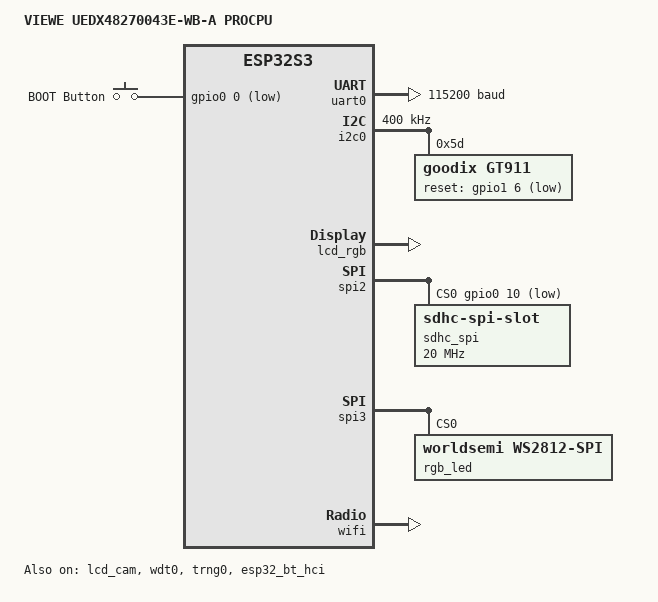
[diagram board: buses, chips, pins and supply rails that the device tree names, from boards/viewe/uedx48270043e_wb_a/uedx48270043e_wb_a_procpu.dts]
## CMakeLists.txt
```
# Copyright (c) 2026 Gustavo
# SPDX-License-Identifier: Apache-2.0

cmake_minimum_required(VERSION 3.20.0)

list(APPEND BOARD_ROOT ${CMAKE_CURRENT_SOURCE_DIR})

find_package(Zephyr REQUIRED HINTS $ENV{ZEPHYR_BASE})
project(viewesmart_esp32s3_dash)

target_sources(app PRIVATE
	src/main.c
	src/senna_telemetry.c
)
```

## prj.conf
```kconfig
# SPDX-License-Identifier: Apache-2.0

# SoC Memória Externa (8 MB Octal PSRAM + Cache 64 KB)
CONFIG_ESP_SPIRAM=y
CONFIG_SPIRAM_MODE_OCT=y
CONFIG_SPIRAM_SPEED_80M=y
CONFIG_ESP32S3_DATA_CACHE_64KB=y
CONFIG_ESP32S3_DATA_CACHE_LINE_64B=y
CONFIG_SHARED_MULTI_HEAP=y
CONFIG_ESP_SPIRAM_HEAP_SIZE=4194304

# Periféricos Base
CONFIG_GPIO=y
CONFIG_I2C=y
CONFIG_CONSOLE=y
CONFIG_SERIAL=y
CONFIG_UART_CONSOLE=y
CONFIG_LOG=y
CONFIG_HEAP_MEM_POOL_SIZE=16384

# Touchscreen Capacitivo Goodix GT911 (Polling via I2C0, pois R33 INT é NC na PCB)
CONFIG_INPUT=y
CONFIG_INPUT_GT911=y
CONFIG_INPUT_GT911_PERIOD_MS=15

# Subsistema de Display & Driver Paralelo RGB (LCD_CAM + GDMA)
CONFIG_DISPLAY=y
CONFIG_DISPLAY_ESP32_LCD_CAM_RGB=y
CONFIG_DISPLAY_ESP32_LCD_CAM_RGB_FB_NUM=1
CONFIG_DISPLAY_ESP32_LCD_CAM_RGB_BOUNCE_BUFFER_LINES=17
CONFIG_DISPLAY_ESP32_LCD_CAM_RGB_RESTART_IN_VSYNC=n

# LVGL (Interface Gráfica)
CONFIG_LVGL=y
CONFIG_LV_Z_MEM_POOL_SIZE=65536
CONFIG_LV_Z_VDB_SIZE=20
CONFIG_LV_Z_DOUBLE_VDB=y
CONFIG_LV_Z_BITS_PER_PIXEL=16
CONFIG_LV_COLOR_DEPTH_16=y
CONFIG_LV_USE_LABEL=y
CONFIG_LV_USE_BUTTON=y
CONFIG_LV_USE_ARC=y
CONFIG_LV_USE_BAR=y
CONFIG_LV_USE_SLIDER=y
CONFIG_LV_USE_LINE=y
CONFIG_LV_FONT_MONTSERRAT_12=y
CONFIG_LV_FONT_MONTSERRAT_14=y
CONFIG_LV_FONT_MONTSERRAT_16=y
CONFIG_LV_FONT_MONTSERRAT_20=y
CONFIG_LV_FONT_MONTSERRAT_24=y
CONFIG_LV_FONT_MONTSERRAT_32=y

# LED Strip WS2812D (21 LEDs: 15 Superiores + 3 Direita + 3 Esquerda em GPIO17)
CONFIG_SPI=y
CONFIG_LED_STRIP=y
CONFIG_WS2812_STRIP_SPI=y

# Stacks do Sistema
CONFIG_MAIN_STACK_SIZE=8192
CONFIG_SYSTEM_WORKQUEUE_STACK_SIZE=4096
```

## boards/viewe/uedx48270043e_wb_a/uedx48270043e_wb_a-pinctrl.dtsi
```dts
/*
 * Copyright (c) 2024 Espressif Systems (Shanghai) Co., Ltd.
 * Copyright (c) 2026 VIEWE Display Co., Ltd.
 *
 * SPDX-License-Identifier: Apache-2.0
 */

#include <zephyr/dt-bindings/pinctrl/esp-pinctrl-common.h>
#include <zephyr/dt-bindings/pinctrl/esp32s3-pinctrl.h>
#include <zephyr/dt-bindings/pinctrl/esp32s3-gpio-sigmap.h>

&pinctrl {
	uart0_default: uart0_default {
		group1 {
			pinmux = <UART0_TX_GPIO43>;
			output-high;
		};

		group2 {
			pinmux = <UART0_RX_GPIO44>;
			bias-pull-up;
		};
	};

	i2c0_default: i2c0_default {
		group1 {
			pinmux = <I2C0_SDA_GPIO19>,
				 <I2C0_SCL_GPIO20>;
			bias-pull-up;
			drive-open-drain;
			output-high;
		};
	};

	spim2_default: spim2_default {
		group1 {
			pinmux = <SPIM2_MISO_GPIO13>;
			bias-pull-up;
		};

		group2 {
			pinmux = <SPIM2_MOSI_GPIO11>,
				 <SPIM2_SCLK_GPIO12>;
		};
	};

	spim3_ws2812_led: spim3_ws2812_led {
		group1 {
			pinmux = <SPIM3_MOSI_GPIO17>;
			drive-push-pull;
			bias-pull-down;
			output-low;
		};
	};

	lcd_cam_default: lcd_cam_default {
		group1 {
			pinmux = <LCD_CAM_LCD_CLK_GPIO42>,
				 <LCD_CAM_H_ENABLE_LCD_GPIO40>,
				 <LCD_CAM_V_SYNC_LCD_GPIO41>,
				 <LCD_CAM_H_SYNC_LCD_GPIO39>,
				 <LCD_CAM_DATA_OUT0_GPIO8>,
				 <LCD_CAM_DATA_OUT1_GPIO3>,
				 <LCD_CAM_DATA_OUT2_GPIO46>,
				 <LCD_CAM_DATA_OUT3_GPIO9>,
				 <LCD_CAM_DATA_OUT4_GPIO1>,
				 <LCD_CAM_DATA_OUT5_GPIO5>,
				 <LCD_CAM_DATA_OUT6_GPIO6>,
				 <LCD_CAM_DATA_OUT7_GPIO7>,
				 <LCD_CAM_DATA_OUT8_GPIO15>,
				 <LCD_CAM_DATA_OUT9_GPIO16>,
				 <LCD_CAM_DATA_OUT10_GPIO4>,
				 <LCD_CAM_DATA_OUT11_GPIO45>,
				 <LCD_CAM_DATA_OUT12_GPIO48>,
				 <LCD_CAM_DATA_OUT13_GPIO47>,
				 <LCD_CAM_DATA_OUT14_GPIO21>,
				 <LCD_CAM_DATA_OUT15_GPIO14>;
		};
	};
};
```

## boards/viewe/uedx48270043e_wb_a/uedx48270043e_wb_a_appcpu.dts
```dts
/*
 * Copyright (c) 2024 Espressif Systems (Shanghai) Co., Ltd.
 * Copyright (c) 2026 VIEWE Display Co., Ltd.
 *
 * SPDX-License-Identifier: Apache-2.0
 */
/dts-v1/;

#include <espressif/esp32s3/esp32s3_appcpu.dtsi>
#include <espressif/partitions_0x0_amp_16M.dtsi>

/ {
	model = "VIEWE UEDX48270043E-WB-A APPCPU";
	compatible = "viewe,uedx48270043e_wb_a", "espressif,esp32s3";

	chosen {
		zephyr,sram = &sram1;
		zephyr,ipc_shm = &shm0;
		zephyr,ipc = &ipm0;
		zephyr,flash = &flash0;
		zephyr,code-partition = &slot0_appcpu_partition;
	};
};

&flash0 {
	reg = <0x0 DT_SIZE_M(16)>;
	ranges = <0x0 0x0 DT_SIZE_M(16)>;
};

&trng0 {
	status = "okay";
};

&ipm0 {
	status = "okay";
};
```

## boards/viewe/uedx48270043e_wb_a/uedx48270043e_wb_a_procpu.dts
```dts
/*
 * Copyright (c) 2024-2026 Espressif Systems (Shanghai) Co., Ltd.
 * Copyright (c) 2026 VIEWE Display Co., Ltd.
 *
 * SPDX-License-Identifier: Apache-2.0
 */

/dts-v1/;

#include <espressif/esp32s3/esp32s3.dtsi>
#include <espressif/partitions_0x0_amp_16M.dtsi>
#include <zephyr/dt-bindings/display/panel.h>
#include <zephyr/dt-bindings/input/input-event-codes.h>
#include <zephyr/dt-bindings/led/led.h>
#include <zephyr/dt-bindings/led/worldsemi_ws2812c.h>
#include "uedx48270043e_wb_a-pinctrl.dtsi"

/ {
	model = "VIEWE UEDX48270043E-WB-A PROCPU";
	compatible = "viewe,uedx48270043e_wb_a", "espressif,esp32s3";

	chosen {
		zephyr,sram = &sram1;
		zephyr,console = &uart0;
		zephyr,shell-uart = &uart0;
		zephyr,flash = &flash0;
		zephyr,code-partition = &slot0_partition;
		zephyr,bt-hci = &esp32_bt_hci;
		zephyr,display = &lcd_rgb;
		zephyr,touch = &gt911;
	};

	aliases {
		i2c-0 = &i2c0;
		uart-0 = &uart0;
		sw0 = &button0;
		watchdog0 = &wdt0;
		sdhc0 = &sdhc0;
		led-strip = &rgb_led;
	};

	buttons {
		compatible = "gpio-keys";
		debounce-interval-ms = <10>;

		button0: button_0 {
			gpios = <&gpio0 0 (GPIO_PULL_UP | GPIO_ACTIVE_LOW)>;
			label = "BOOT Button";
			zephyr,code = <INPUT_KEY_0>;
		};
	};
};

&flash0 {
	reg = <0x0 DT_SIZE_M(16)>;
	ranges = <0x0 0x0 DT_SIZE_M(16)>;
};

&psram0 {
	size = <DT_SIZE_M(8)>;
};

&dma {
	status = "okay";
};

&gpio0 {
	status = "okay";
};

&gpio1 {
	status = "okay";
};

&uart0 {
	status = "okay";
	current-speed = <115200>;
	pinctrl-0 = <&uart0_default>;
	pinctrl-names = "default";
};

&i2c0 {
	status = "okay";
	clock-frequency = <I2C_BITRATE_FAST>;
	pinctrl-0 = <&i2c0_default>;
	pinctrl-names = "default";

	gt911: gt911@5d {
		compatible = "goodix,gt911";
		reg = <0x5d>;
		alt-addr = <0x14>;
		reset-gpios = <&gpio1 6 GPIO_ACTIVE_LOW>; /* GPIO38 */
		screen-width = <480>;
		screen-height = <272>;
	};
};

&lcd_cam {
	status = "okay";
	pinctrl-0 = <&lcd_cam_default>;
	pinctrl-names = "default";

	lcd_rgb: lcd-rgb {
		compatible = "espressif,esp32-lcd-cam-rgb";
		status = "okay";
		width = <480>;
		height = <272>;
		pixel-format = <PANEL_PIXEL_FORMAT_RGB_565>;
		data-bus-width = <16>;
		backlight-gpios = <&gpio0 2 GPIO_ACTIVE_HIGH>; /* GPIO2 LP3321B6F EN */

		display-timings {
			compatible = "zephyr,panel-timing";
			clock-frequency = <12000000>;
			hsync-len = <1>;
			hback-porch = <42>;
			hfront-porch = <20>;
			vsync-len = <10>;
			vback-porch = <12>;
			vfront-porch = <4>;
			hsync-active = <0>;
			vsync-active = <0>;
			de-active = <1>;
			pixelclk-active = <1>;
		};
	};
};

&spi2 {
	#address-cells = <1>;
	#size-cells = <0>;
	status = "okay";
	pinctrl-0 = <&spim2_default>;
	pinctrl-names = "default";
	cs-gpios = <&gpio0 10 GPIO_ACTIVE_LOW>; /* GPIO10 MicroSD CS */

	sdhc_spi: sdhc@0 {
		compatible = "zephyr,sdhc-spi-slot";
		reg = <0>;
		status = "okay";
		spi-max-frequency = <DT_FREQ_M(20)>;

		mmc {
			compatible = "zephyr,sdmmc-disk";
			disk-name = "SD";
			status = "okay";
		};
	};
};

/*
 * Barra de LEDs endereçaveis WS2812D (Total: 21 LEDs) via SPI3 MOSI em GPIO17:
 * - LEDs 0..14 (15 LEDs): Barra Superior (Shift lights F1 da esquerda para a direita)
 * - LEDs 15..17 (3 LEDs): Lateral Direita (de baixo para cima)
 * - LEDs 18..20 (3 LEDs): Lateral Esquerda (de baixo para cima)
 */
&spi3 {
	#address-cells = <1>;
	#size-cells = <0>;
	status = "okay";
	dma-enabled;
	dmas = <&dma 0>, <&dma 1>;
	dma-names = "rx", "tx";
	line-idle-low;
	pinctrl-0 = <&spim3_ws2812_led>;
	pinctrl-names = "default";

	rgb_led: ws2812@0 {
		compatible = "worldsemi,ws2812-spi";
		reg = <0>;
		spi-max-frequency = <WS2812C_SPI_FREQ>;
		chain-length = <21>;
		color-mapping = <LED_COLOR_ID_GREEN>,
				<LED_COLOR_ID_RED>,
				<LED_COLOR_ID_BLUE>;
		spi-one-frame = <WS2812C_ONE_FRAME>;
		spi-zero-frame = <WS2812C_ZERO_FRAME>;
		reset-delay = <300>;
	};
};

&timer0 {
	status = "disabled";
};

&timer1 {
	status = "disabled";
};

&timer2 {
	status = "disabled";
};

&timer3 {
	status = "disabled";
};

&wdt0 {
	status = "okay";
};

&trng0 {
	status = "okay";
};

&esp32_bt_hci {
	status = "okay";
};

&wifi {
	status = "okay";
};
```

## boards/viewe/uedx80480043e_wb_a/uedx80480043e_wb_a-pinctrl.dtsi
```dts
/*
 * Copyright (c) 2026 VIEWE Display Co., Ltd.
 *
 * SPDX-License-Identifier: Apache-2.0
 */

#include <zephyr/dt-bindings/pinctrl/esp-pinctrl-common.h>
#include <zephyr/dt-bindings/pinctrl/esp32s3-pinctrl.h>
#include <zephyr/dt-bindings/pinctrl/esp32s3-gpio-sigmap.h>

&pinctrl {
	uart0_default: uart0_default {
		group1 {
			pinmux = <UART0_TX_GPIO43>;
			output-high;
		};

		group2 {
			pinmux = <UART0_RX_GPIO44>;
			bias-pull-up;
		};
	};

	i2c0_default: i2c0_default {
		group1 {
			pinmux = <I2C0_SDA_GPIO19>,
				 <I2C0_SCL_GPIO20>;
			bias-pull-up;
			drive-open-drain;
			output-high;
		};
	};

	spim2_default: spim2_default {
		group1 {
			pinmux = <SPIM2_MISO_GPIO13>,
				 <SPIM2_SCLK_GPIO12>;
		};

		group2 {
			pinmux = <SPIM2_MOSI_GPIO11>;
			output-low;
		};
	};

	lcd_cam_default: lcd_cam_default {
		group1 {
			pinmux = <LCD_CAM_LCD_CLK_GPIO42>,
				 <LCD_CAM_H_ENABLE_LCD_GPIO40>,
				 <LCD_CAM_V_SYNC_LCD_GPIO41>,
				 <LCD_CAM_H_SYNC_LCD_GPIO39>,
				 <LCD_CAM_DATA_OUT0_GPIO8>,
				 <LCD_CAM_DATA_OUT1_GPIO3>,
				 <LCD_CAM_DATA_OUT2_GPIO46>,
				 <LCD_CAM_DATA_OUT3_GPIO9>,
				 <LCD_CAM_DATA_OUT4_GPIO1>,
				 <LCD_CAM_DATA_OUT5_GPIO5>,
				 <LCD_CAM_DATA_OUT6_GPIO6>,
				 <LCD_CAM_DATA_OUT7_GPIO7>,
				 <LCD_CAM_DATA_OUT8_GPIO15>,
				 <LCD_CAM_DATA_OUT9_GPIO16>,
				 <LCD_CAM_DATA_OUT10_GPIO4>,
				 <LCD_CAM_DATA_OUT11_GPIO45>,
				 <LCD_CAM_DATA_OUT12_GPIO48>,
				 <LCD_CAM_DATA_OUT13_GPIO47>,
				 <LCD_CAM_DATA_OUT14_GPIO21>,
				 <LCD_CAM_DATA_OUT15_GPIO14>;
		};
	};
};
```

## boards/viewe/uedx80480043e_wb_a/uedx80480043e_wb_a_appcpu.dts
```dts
/*
 * Copyright (c) 2026 VIEWE Display Co., Ltd.
 *
 * SPDX-License-Identifier: Apache-2.0
 */

/dts-v1/;

#include <espressif/esp32s3/esp32s3_appcpu.dtsi>
#include <espressif/partitions_0x0_amp_16M.dtsi>

/ {
	model = "VIEWE UEDX80480043E-WB-A APPCPU";
	compatible = "viewe,uedx80480043e-wb-a", "espressif,esp32s3";

	chosen {
		zephyr,sram = &sram1;
		zephyr,ipc_shm = &shm0;
		zephyr,ipc = &ipm0;
		zephyr,flash = &flash0;
		zephyr,code-partition = &slot0_appcpu_partition;
	};
};

&flash0 {
	reg = <0x0 DT_SIZE_M(16)>;
	ranges = <0x0 0x0 DT_SIZE_M(16)>;
};

&trng0 {
	status = "okay";
};

&ipm0 {
	status = "okay";
};
```

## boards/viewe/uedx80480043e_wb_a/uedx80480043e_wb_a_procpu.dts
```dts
/*
 * Copyright (c) 2026 VIEWE Display Co., Ltd.
 *
 * SPDX-License-Identifier: Apache-2.0
 */

/dts-v1/;

#include <espressif/esp32s3/esp32s3_wroom_n16r8.dtsi>
#include <espressif/partitions_0x0_amp_16M.dtsi>
#include <zephyr/dt-bindings/display/panel.h>
#include <zephyr/dt-bindings/gpio/gpio.h>
#include <zephyr/dt-bindings/input/input-event-codes.h>
#include "uedx80480043e_wb_a-pinctrl.dtsi"

/ {
	model = "VIEWE UEDX80480043E-WB-A PROCPU";
	compatible = "viewe,uedx80480043e-wb-a", "espressif,esp32s3";

	aliases {
		i2c-0 = &i2c0;
		sw0 = &button0;
		uart-0 = &uart0;
		watchdog0 = &wdt0;
	};

	chosen {
		zephyr,sram = &sram1;
		zephyr,console = &uart0;
		zephyr,shell-uart = &uart0;
		zephyr,flash = &flash0;
		zephyr,code-partition = &slot0_partition;
		zephyr,bt-hci = &esp32_bt_hci;
		zephyr,display = &lcd_rgb;
		zephyr,touch = &gt911;
	};

	buttons {
		compatible = "gpio-keys";

		button0: button_0 {
			gpios = <&gpio0 0 (GPIO_PULL_UP | GPIO_ACTIVE_LOW)>;
			label = "BOOT Button";
			zephyr,code = <INPUT_KEY_0>;
		};
	};

	lvgl_pointer: lvgl-pointer {
		compatible = "zephyr,lvgl-pointer-input";
		input = <&gt911>;
	};
};

&uart0 {
	status = "okay";
	current-speed = <115200>;
	pinctrl-0 = <&uart0_default>;
	pinctrl-names = "default";
};

&gpio0 {
	status = "okay";
};

&gpio1 {
	status = "okay";
};

&i2c0 {
	status = "okay";
	clock-frequency = <I2C_BITRATE_FAST>;
	pinctrl-0 = <&i2c0_default>;
	pinctrl-names = "default";

	/*
	 * Goodix GT911 Capacitive Touch Controller (J5):
	 * - SDA = GPIO19, SCL = GPIO20 (4.7k pull-ups R8/R9 on PCB)
	 * - RST = GPIO38 (&gpio1 6, active low)
	 * - INT = GPIO18 via R33 (NC/0R unpopulated by default on PCB).
	 *   We omit irq-gpios so Zephyr's goodix,gt911 driver operates in
	 *   periodic polling mode (CONFIG_INPUT_GT911_PERIOD_MS) without
	 *   requiring a hardware solder bridge on R33.
	 */
	gt911: gt911@5d {
		compatible = "goodix,gt911";
		reg = <0x5d>;
		alt-addr = <0x14>;
		reset-gpios = <&gpio1 6 GPIO_ACTIVE_LOW>;
	};
};

&spi2 {
	#address-cells = <1>;
	#size-cells = <0>;
	status = "okay";
	pinctrl-0 = <&spim2_default>;
	pinctrl-names = "default";
	cs-gpios = <&gpio0 10 GPIO_ACTIVE_LOW>;

	sdhc_spi: sdhc@0 {
		compatible = "zephyr,sdhc-spi-slot";
		reg = <0>;
		spi-max-frequency = <20000000>;

		mmc {
			compatible = "zephyr,sdmmc-disk";
			disk-name = "SD";
			status = "disabled";
		};
	};
};

&dma {
	status = "okay";
};

&lcd_cam {
	status = "okay";
	pinctrl-0 = <&lcd_cam_default>;
	pinctrl-names = "default";
	dmas = <&dma 1>;
	dma-names = "tx";

	/*
	 * 4.3" 800x480 RGB565 Parallel TFT Panel (Sitronix ST7262):
	 * - Backlight enable on GPIO2 (LP3321B6F boost driver, active high)
	 * - Pure RGB parallel dot-clock mode (DISP tied to 3.3V on PCB)
	 */
	lcd_rgb: lcd-rgb {
		compatible = "espressif,esp32-lcd-cam-rgb";
		width = <800>;
		height = <480>;
		pixel-format = <PANEL_PIXEL_FORMAT_RGB_565>;
		data-bus-width = <16>;
		backlight-gpios = <&gpio0 2 GPIO_ACTIVE_HIGH>;
		status = "okay";

		display-timings {
			compatible = "zephyr,panel-timing";
			clock-frequency = <16000000>;
			hsync-len = <4>;
			hback-porch = <8>;
			hfront-porch = <8>;
			vsync-len = <4>;
			vback-porch = <8>;
			vfront-porch = <8>;
			hsync-active = <0>;
			vsync-active = <0>;
			de-active = <1>;
			pixelclk-active = <1>;
		};
	};
};

&wdt0 {
	status = "okay";
};

&trng0 {
	status = "okay";
};

&esp32_bt_hci {
	status = "okay";
};

&wifi {
	status = "okay";
};
```

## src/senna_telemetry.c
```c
/*
 * Copyright (c) 2026 Gustavo
 *
 * SPDX-License-Identifier: Apache-2.0
 */

#include "senna_telemetry.h"

/* Variaveis globais de telemetria */
volatile uint32_t g_senna_telemetry_rpm = 0U;
volatile uint32_t g_senna_telemetry_speed_kmh = 0U;
volatile uint8_t  g_senna_telemetry_gear = 0U;
volatile uint32_t g_senna_telemetry_time_ms = 0U;
volatile bool     g_senna_telemetry_active = false;

/*
 * Perfil de telemetria da Pole Position de Ayrton Senna em Interlagos (1994)
 * Williams FW16 Renault RS6 3.5L V10 - 6 marchas
 * Tempo Total: 1:15.962 (75.962 ms)
 */
static const struct senna_telemetry_keyframe s_senna_telemetry[SENNA_KEYFRAMES_COUNT] = {
	{    0U, 288, 13950, 6,   0, "Reta Principal"},
	{ 1800U, 295, 14350, 6,   5, "Reta Principal"},
	{ 2800U, 298, 14500, 6,   8, "Frenagem S do Senna"},
	{ 3600U, 265, 13200, 5,  10, "S do Senna (T1)"},
	{ 4400U, 185, 11800, 3,  12, "S do Senna (T1)"},
	{ 5200U, 125, 10600, 2,  14, "S do Senna (T1)"},
	{ 6500U, 132, 12200, 2,  16, "S do Senna (T2)"},
	{ 7800U, 168, 13800, 3,  18, "S do Senna (T2)"},
	{ 9200U, 195, 12900, 4,  20, "Curva do Sol"},
	{11500U, 232, 13900, 4,  24, "Curva do Sol"},
	{13500U, 258, 13400, 5,  27, "Reta Oposta"},
	{15500U, 282, 14100, 6,  31, "Reta Oposta"},
	{17500U, 294, 14450, 6,  34, "Reta Oposta"},
	{18824U, 288, 13600, 5,  36, "Descida do Lago"},
	{20400U, 182, 11900, 3,  38, "Descida do Lago (T4)"},
	{22200U, 148, 12400, 3,  42, "Descida do Lago (T5)"},
	{24500U, 198, 13600, 4,  46, "Reta Ferradura"},
	{27000U, 235, 14100, 4,  50, "Ferradura (T6)"},
	{29800U, 205, 12800, 4,  54, "Ferradura (T7)"},
	{32200U, 175, 12200, 3,  58, "Curva da Laranjinha"},
	{34800U, 162, 13400, 3,  62, "Laranjinha"},
	{37500U, 145, 11500, 2,  65, "Pinheirinho"},
	{39800U,  98, 10200, 2,  68, "Pinheirinho"},
	{42200U,  76,  9100, 2,  72, "Bico de Pato"},
	{44500U, 115, 13400, 2,  74, "Bico de Pato"},
	{46800U, 168, 13800, 3,  77, "Mergulho"},
	{49500U, 212, 14200, 4,  80, "Mergulho"},
	{51500U, 145, 11600, 3,  82, "Entrada da Juncao"},
	{53004U, 124, 12800, 3,  84, "Juncao"},
	{55500U, 165, 13800, 3,  87, "Subida dos Boxes"},
	{58500U, 208, 13900, 4,  93, "Subida dos Boxes"},
	{62000U, 242, 13500, 5,  99, "Curva do Cafe"},
	{66000U, 268, 14100, 6, 105, "Arquibancadas"},
	{70000U, 285, 14250, 6, 111, "Reta Principal"},
	{73500U, 295, 14420, 6, 116, "Reta Principal"},
	{75962U, 298, 14500, 6, 120, "Linha de Chegada"},
};

/* Coordenadas 2D de Interlagos perfeitamente escaladas para 214x146 (offset +10) */
const lv_point_precise_t s_interlagos_track[INTERLAGOS_TRACK_POINTS_COUNT] = {
	{150, 109}, /* 0 */
	{156, 108}, /* 1 */
	{162, 106}, /* 2 */
	{168, 104}, /* 3 */
	{175, 102}, /* 4 */
	{181, 101}, /* 5 */
	{187,  99}, /* 6 */
	{192,  96}, /* 7 */
	{196,  91}, /* 8 */
	{196,  85}, /* 9 */
	{198,  79}, /* 10 */
	{201,  73}, /* 11 */
	{202,  67}, /* 12 */
	{201,  60}, /* 13 */
	{198,  55}, /* 14 */
	{195,  49}, /* 15 */
	{190,  45}, /* 16 */
	{184,  42}, /* 17 */
	{178,  40}, /* 18 */
	{172,  39}, /* 19 */
	{166,  37}, /* 20 */
	{160,  36}, /* 21 */
	{153,  34}, /* 22 */
	{147,  33}, /* 23 */
	{141,  31}, /* 24 */
	{135,  30}, /* 25 */
	{128,  29}, /* 26 */
	{122,  27}, /* 27 */
	{116,  26}, /* 28 */
	{110,  24}, /* 29 */
	{103,  23}, /* 30 */
	{ 97,  21}, /* 31 */
	{ 91,  20}, /* 32 */
	{ 85,  18}, /* 33 */
	{ 79,  17}, /* 34 */
	{ 72,  16}, /* 35 */
	{ 67,  20}, /* 36 - Fim Setor 1 */
	{ 65,  26}, /* 37 */
	{ 64,  32}, /* 38 */
	{ 63,  38}, /* 39 */
	{ 64,  45}, /* 40 */
	{ 66,  50}, /* 41 */
	{ 70,  56}, /* 42 */
	{ 75,  59}, /* 43 */
	{ 80,  63}, /* 44 */
	{ 86,  67}, /* 45 */
	{ 91,  70}, /* 46 */
	{ 96,  74}, /* 47 */
	{102,  77}, /* 48 */
	{107,  81}, /* 49 */
	{112,  85}, /* 50 */
	{118,  88}, /* 51 */
	{123,  92}, /* 52 */
	{125,  98}, /* 53 */
	{125, 105}, /* 54 */
	{123, 111}, /* 55 */
	{120, 116}, /* 56 */
	{114, 119}, /* 57 */
	{108, 120}, /* 58 */
	{101, 122}, /* 59 */
	{ 95, 123}, /* 60 */
	{ 89, 121}, /* 61 */
	{ 89, 115}, /* 62 */
	{ 93, 110}, /* 63 */
	{ 94, 104}, /* 64 */
	{ 90,  99}, /* 65 */
	{ 84,  97}, /* 66 */
	{ 79,  99}, /* 67 */
	{ 75, 106}, /* 68 */
	{ 70, 110}, /* 69 */
	{ 65, 114}, /* 70 */
	{ 59, 116}, /* 71 */
	{ 52, 117}, /* 72 */
	{ 47, 115}, /* 73 */
	{ 48, 109}, /* 74 */
	{ 53, 105}, /* 75 */
	{ 57, 101}, /* 76 */
	{ 62,  96}, /* 77 */
	{ 65,  90}, /* 78 */
	{ 66,  84}, /* 79 */
	{ 64,  78}, /* 80 */
	{ 60,  73}, /* 81 */
	{ 55,  69}, /* 82 */
	{ 49,  66}, /* 83 */
	{ 44,  63}, /* 84 - Fim Setor 2 */
	{ 38,  60}, /* 85 */
	{ 33,  57}, /* 86 */
	{ 27,  55}, /* 87 */
	{ 23,  60}, /* 88 */
	{ 21,  66}, /* 89 */
	{ 19,  72}, /* 90 */
	{ 18,  79}, /* 91 */
	{ 19,  85}, /* 92 */
	{ 20,  91}, /* 93 */
	{ 22,  97}, /* 94 */
	{ 25, 103}, /* 95 */
	{ 28, 109}, /* 96 */
	{ 31, 114}, /* 97 */
	{ 36, 119}, /* 98 */
	{ 41, 122}, /* 99 */
	{ 48, 124}, /* 100 */
	{ 54, 125}, /* 101 */
	{ 60, 127}, /* 102 */
	{ 66, 128}, /* 103 */
	{ 72, 129}, /* 104 */
	{ 79, 131}, /* 105 */
	{ 85, 132}, /* 106 */
	{ 91, 133}, /* 107 */
	{ 98, 134}, /* 108 */
	{104, 134}, /* 109 */
	{110, 133}, /* 110 */
	{117, 131}, /* 111 */
	{123, 129}, /* 112 */
	{129, 128}, /* 113 */
	{135, 126}, /* 114 */
	{141, 124}, /* 115 */
	{147, 122}, /* 116 */
	{153, 121}, /* 117 */
	{159, 119}, /* 118 */
	{154, 114}, /* 119 */
	{150, 109}, /* 120 - Fim Setor 3 / Linha de Chegada */
};

uint32_t senna_telemetry_get_rpm(void)
{
	return g_senna_telemetry_rpm;
}

uint32_t senna_telemetry_get_speed_kmh(void)
{
	return g_senna_telemetry_speed_kmh;
}

uint8_t senna_telemetry_get_gear(void)
{
	return g_senna_telemetry_gear;
}

uint32_t senna_telemetry_get_time_ms(void)
{
	return g_senna_telemetry_time_ms;
}

bool senna_telemetry_is_active(void)
{
	return g_senna_telemetry_active;
}

void senna_telemetry_sample_at(uint32_t time_ms, struct senna_telemetry_sample *out_sample)
{
	if (out_sample == NULL) {
		return;
	}

	if (time_ms >= SENNA_LAP_TOTAL_TIME_MS) {
		const struct senna_telemetry_keyframe *last =
			&s_senna_telemetry[SENNA_KEYFRAMES_COUNT - 1];

		out_sample->time_ms = SENNA_LAP_TOTAL_TIME_MS;
		out_sample->speed_kmh = last->speed_kmh;
		out_sample->rpm = last->rpm;
		out_sample->gear = last->gear;
		out_sample->track_idx = last->track_idx;
		out_sample->sector = 3;
		out_sample->corner_name = last->corner_name;
		return;
	}

	int i = 0;
	for (i = 0; i < (SENNA_KEYFRAMES_COUNT - 1); i++) {
		if (time_ms < s_senna_telemetry[i + 1].time_ms) {
			break;
		}
	}

	const struct senna_telemetry_keyframe *k0 = &s_senna_telemetry[i];
	const struct senna_telemetry_keyframe *k1 = &s_senna_telemetry[i + 1];

	uint32_t dt = k1->time_ms - k0->time_ms;
	uint32_t elapsed = time_ms - k0->time_ms;

	out_sample->time_ms = time_ms;
	out_sample->speed_kmh = (uint16_t)((int32_t)k0->speed_kmh +
		((int32_t)(k1->speed_kmh - k0->speed_kmh) * (int32_t)elapsed) / (int32_t)dt);
	out_sample->rpm = (uint16_t)((int32_t)k0->rpm +
		((int32_t)(k1->rpm - k0->rpm) * (int32_t)elapsed) / (int32_t)dt);
	out_sample->track_idx = (uint8_t)((int32_t)k0->track_idx +
		((int32_t)(k1->track_idx - k0->track_idx) * (int32_t)elapsed) / (int32_t)dt);

	if (k1->gear != k0->gear) {
		if (k1->gear < k0->gear) {
			/* Reducao na frenagem */
			out_sample->gear = (elapsed * 3U >= dt) ? k1->gear : k0->gear;
		} else {
			/* Troca ascendente */
			out_sample->gear = (elapsed * 4U >= dt * 3U) ? k1->gear : k0->gear;
		}
	} else {
		out_sample->gear = k0->gear;
	}

	if (time_ms < SENNA_SECTOR1_TIME_MS) {
		out_sample->sector = 1;
	} else if (time_ms < SENNA_SECTOR2_TIME_MS) {
		out_sample->sector = 2;
	} else {
		out_sample->sector = 3;
	}

	out_sample->corner_name = (elapsed * 2U < dt) ? k0->corner_name : k1->corner_name;
}

void senna_telemetry_update(uint32_t time_ms, struct senna_telemetry_sample *out_sample)
{
	senna_telemetry_sample_at(time_ms, out_sample);

	g_senna_telemetry_rpm = out_sample->rpm;
	g_senna_telemetry_speed_kmh = out_sample->speed_kmh;
	g_senna_telemetry_gear = out_sample->gear;
	g_senna_telemetry_time_ms = out_sample->time_ms;
}
```

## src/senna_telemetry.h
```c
/*
 * Copyright (c) 2026 Gustavo
 *
 * SPDX-License-Identifier: Apache-2.0
 */

#ifndef SENNA_TELEMETRY_H_
#define SENNA_TELEMETRY_H_

#include <stdint.h>
#include <stdbool.h>
#include <lvgl.h>

#ifdef __cplusplus
extern "C" {
#endif

/* Total lap duration: 1m15.962s (Williams FW16 Renault RS6 V10 - Pole Position GP Brasil 1994) */
#define SENNA_LAP_TOTAL_TIME_MS      75962U

/* Sector Split Times */
#define SENNA_SECTOR1_TIME_MS        18824U  /* S1: 18.824s */
#define SENNA_SECTOR2_TIME_MS        53004U  /* S2 split: 34.180s (acumulado: 53.004s) */
#define SENNA_SECTOR3_TIME_MS        75962U  /* S3 split: 22.958s (acumulado: 75.962s) */

#define INTERLAGOS_TRACK_POINTS_COUNT 121
#define INTERLAGOS_SECTOR1_END_IDX   36
#define INTERLAGOS_SECTOR2_END_IDX   84
#define INTERLAGOS_SECTOR3_END_IDX   120

#define SENNA_KEYFRAMES_COUNT        36

struct senna_telemetry_keyframe {
	uint32_t time_ms;
	uint16_t speed_kmh;
	uint16_t rpm;
	uint8_t  gear;
	uint8_t  track_idx;
	const char *corner_name;
};

struct senna_telemetry_sample {
	uint32_t time_ms;
	uint16_t speed_kmh;
	uint16_t rpm;
	uint8_t  gear;
	uint8_t  track_idx;
	uint8_t  sector; /* 1, 2, ou 3 */
	const char *corner_name;
};

/*
 * Variaveis de telemetria globais requisitadas:
 * Qualquer modulo externo pode ler g_senna_telemetry_rpm em tempo real.
 */
extern volatile uint32_t g_senna_telemetry_rpm;
extern volatile uint32_t g_senna_telemetry_speed_kmh;
extern volatile uint8_t  g_senna_telemetry_gear;
extern volatile uint32_t g_senna_telemetry_time_ms;
extern volatile bool     g_senna_telemetry_active;

/* Funcoes de acesso seguro */
uint32_t senna_telemetry_get_rpm(void);
uint32_t senna_telemetry_get_speed_kmh(void);
uint8_t  senna_telemetry_get_gear(void);
uint32_t senna_telemetry_get_time_ms(void);
bool     senna_telemetry_is_active(void);

/* Interpolacao e amostragem */
void senna_telemetry_sample_at(uint32_t time_ms, struct senna_telemetry_sample *out_sample);
void senna_telemetry_update(uint32_t time_ms, struct senna_telemetry_sample *out_sample);

/* Tracado de Interlagos */
extern const lv_point_precise_t s_interlagos_track[INTERLAGOS_TRACK_POINTS_COUNT];

#ifdef __cplusplus
}
#endif

#endif /* SENNA_TELEMETRY_H_ */
```
